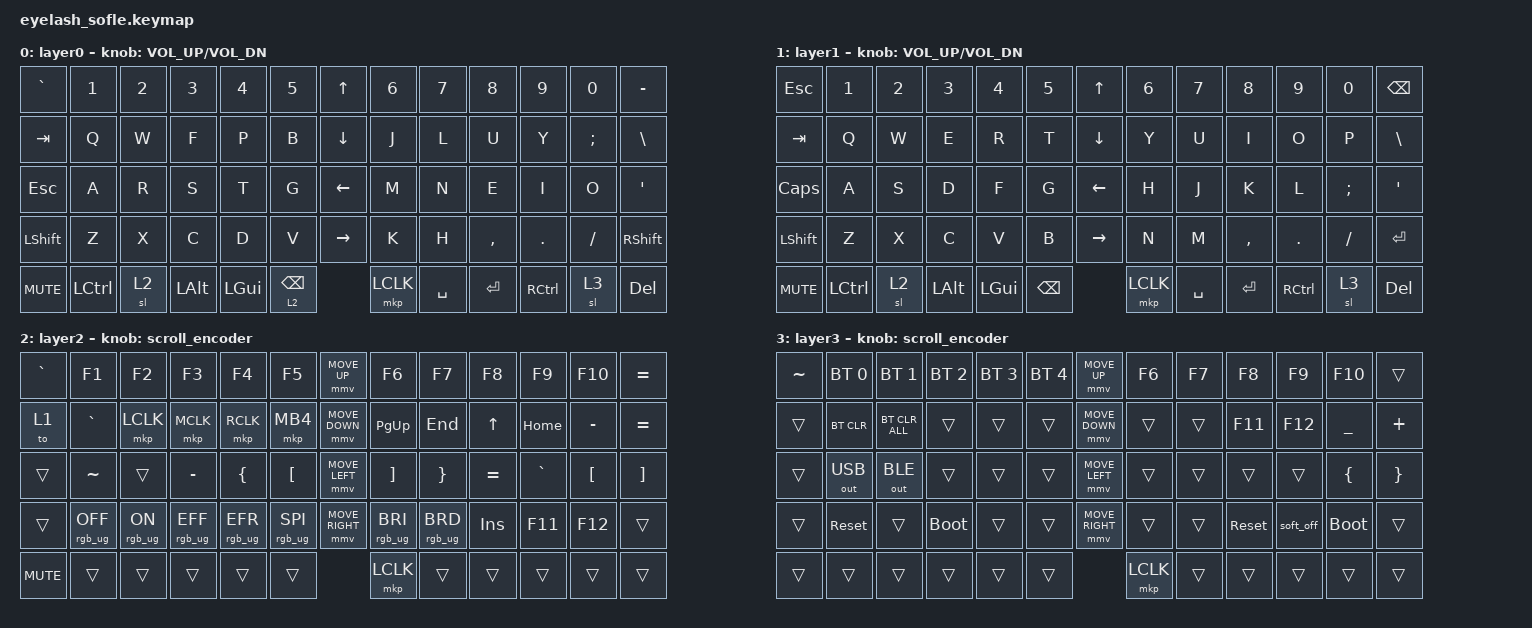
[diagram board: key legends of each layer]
#define ZMK_POINTING_DEFAULT_MOVE_VAL 1200  // 600
#define ZMK_POINTING_DEFAULT_SCRL_VAL 25   // 10

#include <input/processors.dtsi>
#include <zephyr/dt-bindings/input/input-event-codes.h>
#include <behaviors.dtsi>
#include <dt-bindings/zmk/bt.h>
#include <dt-bindings/zmk/ext_power.h>
#include <dt-bindings/zmk/keys.h>
#include <dt-bindings/zmk/pointing.h>
#include <dt-bindings/zmk/rgb.h>
#include <dt-bindings/zmk/outputs.h>

&mmv_input_listener { input-processors = <&zip_xy_scaler 2 1>; };

&msc_input_listener { input-processors = <&zip_scroll_scaler 2 1>; };

&msc {
    acceleration-exponent = <1>;      // 0
    time-to-max-speed-ms = <100>;       // 300
    delay-ms = <0>;                   // 0
};

&mmv {
    time-to-max-speed-ms = <500>;
    acceleration-exponent = <1>;
    trigger-period-ms = <16>;
};


/ {

    scroll_encoder: scroll_encoder {
        compatible = "zmk,behavior-sensor-rotate";
        #sensor-binding-cells = <0>;
        bindings = <&msc SCRL_DOWN>, <&msc SCRL_UP>;
        tap-ms = <100>;
    };

    keymap {
        compatible = "zmk,keymap";

        layer_0 {
            bindings = <
&kp GRAVE   &kp N1     &kp N2        &kp N3        &kp N4  &kp N5       &kp UP_ARROW     &kp N6     &kp N7     &kp N8     &kp N9           &kp N0      &kp MINUS
&kp TAB     &kp Q      &kp W         &kp F         &kp P   &kp B        &kp DOWN_ARROW   &kp J      &kp L      &kp U      &kp Y            &kp SEMI    &kp BSLH
&kp ESC     &kp A      &kp R         &kp S         &kp T   &kp G        &kp LEFT_ARROW   &kp M      &kp N      &kp E      &kp I            &kp O       &kp APOS
&kp LSHFT   &kp Z      &kp X         &kp C         &kp D   &kp V        &kp RIGHT_ARROW  &kp K      &kp H      &kp COMMA  &kp DOT          &kp FSLH    &kp RSHIFT
&kp C_MUTE  &kp LCTRL  &sl 2         &kp LEFT_ALT  &kp LEFT_GUI &lt 2 BACKSPACE  &mkp LCLK &kp SPACE  &kp ENTER  &kp RCTRL  &sl 3    &kp DELETE
            >;

            sensor-bindings = <&inc_dec_kp C_VOLUME_UP C_VOL_DN>;
            display-name = "layer0";
        };

        layer_1 {
            bindings = <
&kp ESC     &kp N1     &kp N2        &kp N3        &kp N4  &kp N5       &kp UP_ARROW     &kp N6     &kp N7     &kp N8     &kp N9           &kp N0      &kp BACKSPACE
&kp TAB     &kp Q      &kp W         &kp E         &kp R   &kp T        &kp DOWN_ARROW   &kp Y      &kp U      &kp I      &kp O            &kp P       &kp BSLH
&kp CAPS    &kp A      &kp S         &kp D         &kp F   &kp G        &kp LEFT_ARROW   &kp H      &kp J      &kp K      &kp L            &kp SEMI    &kp APOS
&kp LSHFT   &kp Z      &kp X         &kp C         &kp V   &kp B        &kp RIGHT_ARROW  &kp N      &kp M      &kp COMMA  &kp DOT          &kp FSLH    &kp ENTER
&kp C_MUTE  &kp LCTRL  &sl 2         &kp LEFT_ALT  &kp LEFT_GUI &kp BACKSPACE  &mkp LCLK &kp SPACE  &kp ENTER  &kp RCTRL  &sl 3  &kp DELETE
            >;

            sensor-bindings = <&inc_dec_kp C_VOLUME_UP C_VOL_DN>;
            display-name = "layer1";
        };

        layer_2 {
            bindings = <
&kp GRAVE   &kp F1           &kp F2          &kp F3           &kp F4           &kp F5             &mmv MOVE_UP     &kp F6           &kp F7           &kp F8      &kp F9     &kp F10           &kp EQUAL
&to 1       &kp GRAVE        &mkp LCLK       &mkp MCLK        &mkp RCLK        &mkp MB4           &mmv MOVE_DOWN   &kp PG_UP        &kp END          &kp UP      &kp HOME   &kp MINUS         &kp EQUAL
&trans      &kp TILDE        &trans          &kp MINUS        &kp LBRC         &kp LBKT           &mmv MOVE_LEFT   &kp RBKT         &kp RBRC         &kp EQUAL  &kp GRAVE  &kp LEFT_BRACKET  &kp RIGHT_BRACKET
&trans      &rgb_ug RGB_OFF  &rgb_ug RGB_ON  &rgb_ug RGB_EFF  &rgb_ug RGB_EFR  &rgb_ug RGB_SPI    &mmv MOVE_RIGHT  &rgb_ug RGB_BRI  &rgb_ug RGB_BRD  &kp INSERT  &kp F11    &kp F12           &trans
&kp C_MUTE  &trans           &trans          &trans           &trans           &trans             &mkp LCLK        &trans           &trans           &trans      &trans     &trans
            >;

            display-name = "layer2";
            sensor-bindings = <&scroll_encoder>;
        };

        layer_3 {
            bindings = <
&kp TILDE  &bt BT_SEL 0  &bt BT_SEL 1    &bt BT_SEL 2  &bt BT_SEL 3  &bt BT_SEL 4    &mmv MOVE_UP     &kp F6  &kp F7  &kp F8      &kp F9     &kp F10      &trans
&trans     &bt BT_CLR    &bt BT_CLR_ALL  &trans        &trans        &trans          &mmv MOVE_DOWN   &trans  &trans  &kp F11     &kp F12    &kp UNDER    &kp PLUS
&trans     &out OUT_USB  &out OUT_BLE    &trans        &trans        &trans          &mmv MOVE_LEFT   &trans  &trans  &trans      &trans     &kp LBRC     &kp RBRC
&trans     &sys_reset    &trans          &bootloader   &trans        &trans          &mmv MOVE_RIGHT  &trans  &trans  &sys_reset  &soft_off  &bootloader  &trans
&trans     &trans        &trans          &trans        &trans        &trans          &mkp LCLK        &trans  &trans  &trans      &trans     &trans
            >;

            display-name = "layer3";
            sensor-bindings = <&scroll_encoder>;
        };
    };
};
